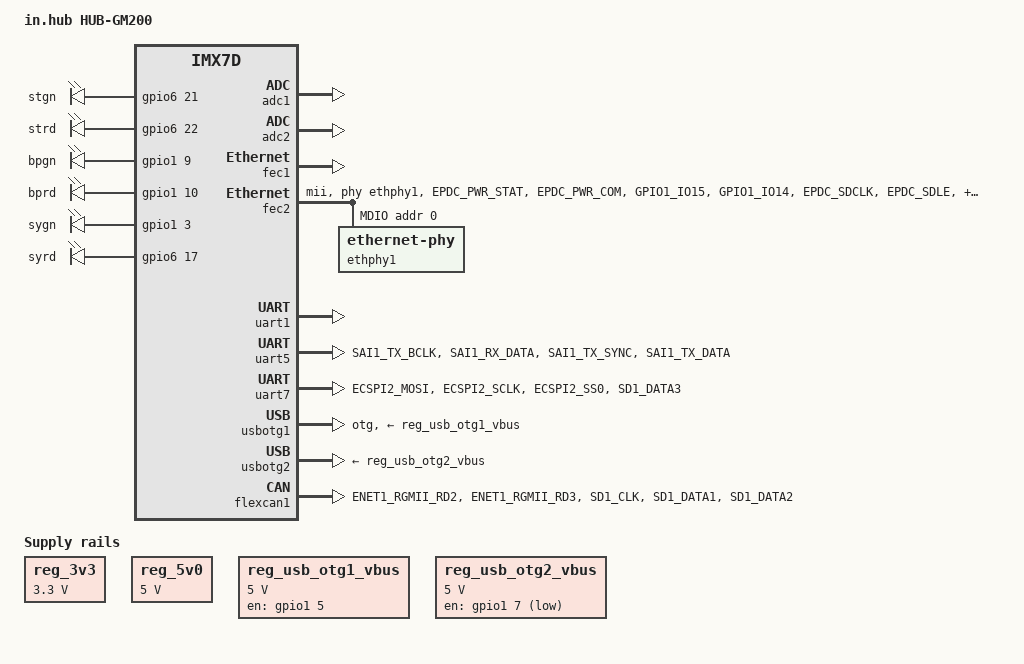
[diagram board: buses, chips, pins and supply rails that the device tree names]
// SPDX-License-Identifier: GPL-2.0-only
/*
 * Copyright 2024 in.hub GmbH
 */

/dts-v1/;
#include "imx7d-colibri-emmc.dtsi"

/delete-node/ &sai1;
/delete-node/ &lcdif;
/delete-node/ &pwm1;
/delete-node/ &pwm2;
/delete-node/ &pwm3;
/delete-node/ &pwm4;

/ {
	model = "in.hub HUB-GM200";
	compatible = "inhub,hub-gm200", "fsl,imx7d";

	chosen {
		stdout-path = "serial0:115200n8";
	};

	reg_3v3: regulator-3v3 {
		compatible = "regulator-fixed";
		regulator-name = "3.3V";
		regulator-min-microvolt = <3300000>;
		regulator-max-microvolt = <3300000>;
	};

	reg_5v0: regulator-5v0 {
		compatible = "regulator-fixed";
		regulator-name = "5V";
		regulator-min-microvolt = <5000000>;
		regulator-max-microvolt = <5000000>;
	};

	reg_usb_otg1_vbus: regulator-usb-otg1-vbus {
		compatible = "regulator-fixed";
		regulator-name = "usb_otg1_vbus";
		regulator-min-microvolt = <5000000>;
		regulator-max-microvolt = <5000000>;
		gpio = <&gpio1 5 GPIO_ACTIVE_HIGH>;
		enable-active-high;
	};

	reg_usb_otg2_vbus: regulator-usb-otg2-vbus {
		compatible = "regulator-fixed";
		pinctrl-names = "default";
		pinctrl-0 = <&pinctrl_usb_otg2>;
		regulator-name = "usb_otg2_vbus";
		regulator-min-microvolt = <5000000>;
		regulator-max-microvolt = <5000000>;
		gpio = <&gpio1 7 GPIO_ACTIVE_HIGH>;
	};

	leds {
		compatible = "gpio-leds";
		pinctrl-names = "default";
		pinctrl-0 = <&pinctrl_leds>;

		status_green {
			label = "stgn";
			gpios = <&gpio6 21 0x0>;
			default-state = "off";
		};

		status_red {
			label = "strd";
			gpios = <&gpio6 22 0x0>;
			default-state = "off";
		};

		backplane_green {
			label = "bpgn";
			gpios = <&gpio1 9 0x0>;
			default-state = "off";
		};

		backplane_red {
			label = "bprd";
			gpios = <&gpio1 10 0x0>;
			default-state = "off";
		};

		system_green {
			label = "sygn";
			gpios = <&gpio1 3 0x0>;
			default-state = "on";
		};

		system_red {
			label = "syrd";
			gpios = <&gpio6 17 0x0>;
			default-state = "off";
			linux,default-trigger = "mmc0";
		};
	};

	/delete-node/ backlight;
	/delete-node/ sound;
	/delete-node/ regulator-module-3v3-avdd;
};


&adc1 {
	status = "okay";
};

&adc2 {
	status = "okay";
};

&fec1 {
	status = "okay";
};


&fec2 {
	pinctrl-names = "default";
	pinctrl-0 = <&pinctrl_enet2>;
	assigned-clocks = <&clks IMX7D_ENET2_TIME_ROOT_SRC>,
			  <&clks IMX7D_ENET2_TIME_ROOT_CLK>;
	assigned-clock-parents = <&clks IMX7D_PLL_ENET_MAIN_100M_CLK>;
	assigned-clock-rates = <0>, <100000000>;
	phy-mode = "mii";
	phy-handle = <&ethphy1>;
	phy-reset-gpios = <&gpio4 4 GPIO_ACTIVE_LOW>;
	phy-reset-duration = <10>;
	status = "okay";

	mdio {
		#address-cells = <1>;
		#size-cells = <0>;

		ethphy1: ethernet-phy@0 {
			reg = <0>;
		};
	};
};

&i2c1 {
	/delete-node/ sgtl5000@a;
	/delete-node/ ad7879@2c;
};

&iomuxc {
	pinctrl-0 = <&pinctrl_gpio_adc1 &pinctrl_gpio_adc2 &pinctrl_gpio_adc3 &pinctrl_gpio_adc4 &pinctrl_gpio_adc5 &pinctrl_gpio_adc6 &pinctrl_bp_ctrl>;

	/delete-node/ gpio1-grp;
	/delete-node/ gpio2-grp;
	/delete-node/ gpio3-grp;
	/delete-node/ gpio4-grp;
	/delete-node/ lcdif-dat-grp;
	/delete-node/ lcdif-dat-24-grp;
	/delete-node/ lcdif-ctrl-grp;
	/delete-node/ pwm1-grp;
	/delete-node/ pwm2-grp;
	/delete-node/ pwm3-grp;
	/delete-node/ pwm4-grp;
	/delete-node/ sai1-grp;
	/delete-node/ sai1grp_mclk;

	pinctrl_leds: leds-grp {
		fsl,pins = <
			MX7D_PAD_LPSR_GPIO1_IO03__GPIO1_IO3	0x14 /* SODIMM 22 / LED1G */
			MX7D_PAD_SAI1_RX_BCLK__GPIO6_IO17	0x14 /* SODIMM 24 / LED1R */
			MX7D_PAD_GPIO1_IO09__GPIO1_IO9		0x14 /* SODIMM 28 / LED2G */
			MX7D_PAD_GPIO1_IO10__GPIO1_IO10		0x14 /* SODIMM 30 / LED2R */
			MX7D_PAD_SAI2_RX_DATA__GPIO6_IO21	0x14 /* SODIMM 32 / LED3G */
			MX7D_PAD_SAI2_TX_DATA__GPIO6_IO22   0x14 /* SODIMM 34 / LED3R */
		>;
	};

	pinctrl_bp_uart: bp-uart-grp {
		fsl,pins = <
			MX7D_PAD_SAI1_TX_BCLK__UART5_DTE_RX		0x79 /* SODIMM 157 / RXBP */
			MX7D_PAD_SAI1_RX_DATA__UART5_DTE_TX		0x79 /* SODIMM 169 / TXBP */
			MX7D_PAD_SAI1_TX_SYNC__UART5_DTE_RTS	0x79 /* SODIMM 163 / RTS */
			MX7D_PAD_SAI1_TX_DATA__UART5_DTE_CTS	0x79 /* SODIMM 81 / CTS */
		>;
	};

	pinctrl_bp_ctrl: bp-ctrl-grp {
		fsl,pins = <
			MX7D_PAD_SD1_DATA0__GPIO5_IO5			0x14 /* SODIMM 192 / ENBP */
			MX7D_PAD_ECSPI1_SCLK__GPIO4_IO16		0x14 /* SODIMM 101 / MDBP (module detection) */
			MX7D_PAD_SD1_CMD__GPIO5_IO4				0x34 /* SODIMM 190 / FLTBP */
		>;
	};

	pinctrl_uart7_gm200: uart7-gm200-grp {
		fsl,pins = <
			MX7D_PAD_ECSPI2_MOSI__UART7_DTE_RX		0x79
			MX7D_PAD_ECSPI2_SCLK__UART7_DTE_TX		0x79
			MX7D_PAD_ECSPI2_SS0__UART7_DTE_RTS		0x79
			MX7D_PAD_SD1_DATA3__UART7_DTE_CTS		0x79
		>;
	};

	pinctrl_uart7_reg: uart7-reg-grp {
		fsl,pins = <
			MX7D_PAD_LPSR_GPIO1_IO00__GPIO1_IO0		0x34 /* SODIMM 43 / FLTMB */
			MX7D_PAD_LPSR_GPIO1_IO01__GPIO1_IO1		0x14 /* SODIMM 45 / ENMB */
		>;
	};

	pinctrl_gpio_adc1: gpio-adc1-grp {
		fsl,pins = <
			MX7D_PAD_LCD_DATA15__GPIO3_IO20		0x34 /* SODIMM 64 - FLT1 */
			MX7D_PAD_LCD_DATA14__GPIO3_IO19		0x34 /* SODIMM 66 - DIN1 / DOI_LVL */
			MX7D_PAD_LCD_HSYNC__GPIO3_IO2		0x14 /* SODIMM 68 - PDEN1 / DI_EN */
			MX7D_PAD_LCD_DATA01__GPIO3_IO6		0x14 /* SODIMM 70 - DOUT1 / IN */
			MX7D_PAD_LCD_DATA05__GPIO3_IO10		0x14 /* SODIMM 72 - DOEN1 / PP */
			MX7D_PAD_LCD_DATA10__GPIO3_IO15		0x14 /* SODIMM 74 - ACUREN1 / ACUREN */
			MX7D_PAD_I2C2_SDA__GPIO4_IO11		0x34 /* SODIMM 186 - AFLT1 */
		>;
	};

	pinctrl_gpio_adc2: gpio-adc2-grp {
		fsl,pins = <
			MX7D_PAD_I2C3_SDA__GPIO4_IO13		0x34 /* SODIMM 94  - FLT2 */
			MX7D_PAD_I2C4_SCL__GPIO4_IO14		0x34 /* SODIMM 96  - DIN2 / DOI_LVL */
			MX7D_PAD_SD2_RESET_B__GPIO5_IO11	0x14 /* SODIMM 98  - PDEN2 / DI_EN */
			MX7D_PAD_SD2_DATA2__GPIO5_IO16		0x14 /* SODIMM 100 - DOUT2 / IN */
			MX7D_PAD_SD2_DATA3__GPIO5_IO17		0x14 /* SODIMM 102 - DOEN2 / PP */
			MX7D_PAD_EPDC_GDSP__GPIO2_IO27		0x14 /* SODIMM 104 - ACUREN2 / ACUREN */
			MX7D_PAD_LCD_DATA04__GPIO3_IO9		0x34 /* SODIMM 186 - AFLT2 */
		>;
	};

	pinctrl_gpio_adc3: gpio-adc3-grp {
		fsl,pins = <
			MX7D_PAD_LCD_DATA00__GPIO3_IO5		0x34 /* SODIMM 186 - FLT3 */
			MX7D_PAD_EPDC_DATA14__GPIO2_IO14	0x34 /* SODIMM 126 - DIN3 / DOI_LVL */
			MX7D_PAD_LCD_DATA18__GPIO3_IO23		0x14 /* SODIMM 136 - PDEN3 / DI_EN */
			MX7D_PAD_LCD_DATA19__GPIO3_IO24		0x14 /* SODIMM 138 - DOUT3 / IN */
			MX7D_PAD_LCD_DATA20__GPIO3_IO25		0x14 /* SODIMM 140 - DOEN3 / PP */
			MX7D_PAD_LCD_DATA21__GPIO3_IO26		0x14 /* SODIMM 142 - ACUREN3 / ACUREN */
			MX7D_PAD_SD2_CMD__GPIO5_IO13		0x34 /* SODIMM 186 - AFLT3 */
		>;
	};

	pinctrl_gpio_adc4: gpio-adc4-grp {
		fsl,pins = <
			MX7D_PAD_EPDC_DATA12__GPIO2_IO12	0x34 /* SODIMM 184 - FLT4 */
			MX7D_PAD_EPDC_DATA11__GPIO2_IO11	0x34 /* SODIMM 152 - DIN4 / DOI_LVL */
			MX7D_PAD_LCD_DATA06__GPIO3_IO11		0x14 /* SODIMM 80  - PDEN4 / DI_EN */
			MX7D_PAD_LCD_VSYNC__GPIO3_IO3		0x14 /* SODIMM 82  - DOUT4 / IN */
			MX7D_PAD_LCD_DATA22__GPIO3_IO27		0x14 /* SODIMM 144 - DOEN4 / PP */
			MX7D_PAD_LCD_DATA23__GPIO3_IO28		0x14 /* SODIMM 146 - ACUREN4 / ACUREN */
			MX7D_PAD_SD2_CLK__GPIO5_IO12		0x34 /* SODIMM 184 - AFLT4 */
		>;
	};

	pinctrl_gpio_adc5: gpio-adc5-grp {
		fsl,pins = <
			MX7D_PAD_LCD_DATA13__GPIO3_IO18		0x34 /* SODIMM 54 - FLT5 */
			MX7D_PAD_LCD_CLK__GPIO3_IO0			0x34 /* SODIMM 56 - DIN5 / DOI_LVL */
			MX7D_PAD_LCD_DATA03__GPIO3_IO8		0x14 /* SODIMM 58 - PDEN5 / DI_EN */
			MX7D_PAD_LCD_DATA02__GPIO3_IO7		0x14 /* SODIMM 60 - DOUT5 / IN */
			MX7D_PAD_LCD_DATA08__GPIO3_IO13		0x14 /* SODIMM 62 - DOEN5 / PP */
		>;
	};

	pinctrl_gpio_adc6: gpio-adc6-grp {
		fsl,pins = <
			MX7D_PAD_LCD_ENABLE__GPIO3_IO1		0x34 /* SODIMM 54 - FLT6 */
			MX7D_PAD_LCD_DATA07__GPIO3_IO12		0x34 /* SODIMM 46 - DIN6 / DOI_LVL */
			MX7D_PAD_LCD_DATA09__GPIO3_IO14		0x14 /* SODIMM 48 - PDEN6 / DI_EN */
			MX7D_PAD_LCD_DATA11__GPIO3_IO16		0x14 /* SODIMM 50 - DOUT6 / IN */
			MX7D_PAD_LCD_DATA12__GPIO3_IO17		0x14 /* SODIMM 52 - DOEN6 / PP */
		>;
	};

	pinctrl_enet2: enet2grp {
		fsl,pins = <
			MX7D_PAD_EPDC_PWR_STAT__ENET2_COL			0x11
			MX7D_PAD_EPDC_PWR_COM__ENET2_CRS			0x11
			MX7D_PAD_GPIO1_IO15__ENET2_MDC				0x37
			MX7D_PAD_GPIO1_IO14__ENET2_MDIO				0x37
			MX7D_PAD_EPDC_SDCLK__ENET2_RGMII_RD0		0x11
			MX7D_PAD_EPDC_SDLE__ENET2_RGMII_RD1			0x11
			MX7D_PAD_EPDC_SDOE__ENET2_RGMII_RD2			0x11
			MX7D_PAD_EPDC_SDSHR__ENET2_RGMII_RD3		0x11
			MX7D_PAD_EPDC_BDR1__ENET2_RX_CLK			0x11
			MX7D_PAD_EPDC_SDCE0__ENET2_RGMII_RX_CTL		0x11
			MX7D_PAD_EPDC_SDCE1__ENET2_RX_ER			0x11
			MX7D_PAD_EPDC_SDCE2__ENET2_RGMII_TD0		0x11
			MX7D_PAD_EPDC_SDCE3__ENET2_RGMII_TD1		0x11
			MX7D_PAD_EPDC_GDCLK__ENET2_RGMII_TD2		0x11
			MX7D_PAD_EPDC_GDOE__ENET2_RGMII_TD3			0x11
			MX7D_PAD_EPDC_BDR0__ENET2_TX_CLK			0x11
			MX7D_PAD_EPDC_GDRL__ENET2_RGMII_TX_CTL		0x11
			MX7D_PAD_UART3_RX_DATA__GPIO4_IO4			0x77
		>;
	};

	pinctrl_flexcan1_gm100: flexcan1-gm100-grp {
		fsl,pins = <
			MX7D_PAD_ENET1_RGMII_RD2__FLEXCAN1_RX	0x59	/* SODIMM 63 - CAN1/RX */
			MX7D_PAD_ENET1_RGMII_RD3__FLEXCAN1_TX	0x59	/* SODIMM 55 - CAN1/TX */
			MX7D_PAD_SD1_CLK__GPIO5_IO3				0x14	/* SODIMM 47 - CAN1/VIO */
			MX7D_PAD_SD1_DATA1__GPIO5_IO6			0x14	/* SODIMM 49 - FLTCAN */
			MX7D_PAD_SD1_DATA2__GPIO5_IO7			0x14	/* SODIMM 51 - ENCAN */
		>;
	};
};

&iomuxc_lpsr {
	pinctrl_usb_otg2: otg2-grp {
		fsl,pins = <
			MX7D_PAD_LPSR_GPIO1_IO06__USB_OTG2_OC	0x7d	/* SODIMM 37 - USB OTG2/OC */
			MX7D_PAD_LPSR_GPIO1_IO07__GPIO1_IO7		0x14	/* SODIMM 29 - USB OTG2/PWR */
		>;
	};
};

&uart1 {
	status = "okay";
	pinctrl-0 = <&pinctrl_uart1>;
	/delete-node/ uart-has-rtscts;
};

&uart5 {
	pinctrl-names = "default";
	pinctrl-0 = <&pinctrl_bp_uart>;
	linux,rs485-enabled-at-boot-time;
	uart-has-rtscts;
	fsl,dte-mode;
	status = "okay";
};

&uart7 {
	pinctrl-names = "default";
	pinctrl-0 = <&pinctrl_uart7_gm200>;
	linux,rs485-enabled-at-boot-time;
	uart-has-rtscts;
	fsl,dte-mode;
	status = "okay";
};

&usbotg1 {
	vbus-supply = <&reg_usb_otg1_vbus>;
	dr_mode = "otg";
	status = "okay";
};

&usbotg2 {
	vbus-supply = <&reg_usb_otg2_vbus>;
	status = "okay";
};

&flexcan1 {
	pinctrl-names = "default";
	pinctrl-0 = <&pinctrl_flexcan1_gm100>;
	status = "okay";
};
